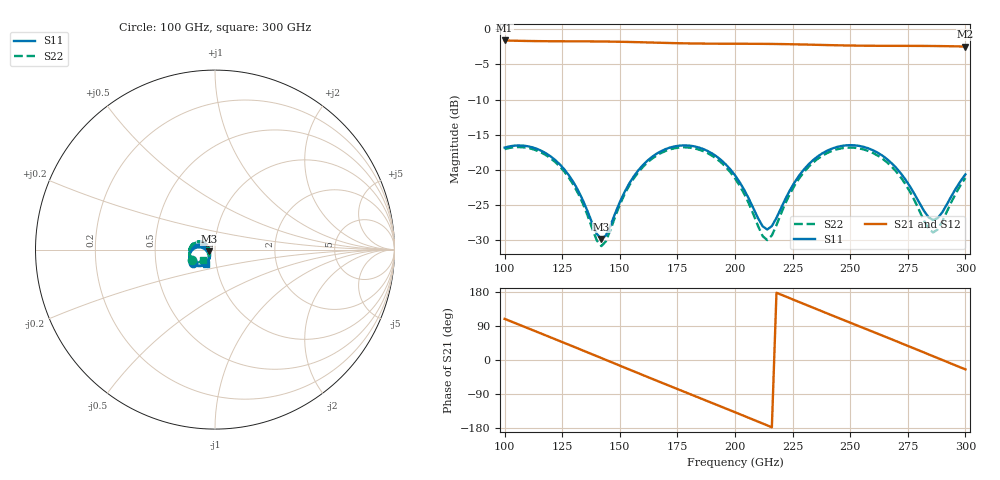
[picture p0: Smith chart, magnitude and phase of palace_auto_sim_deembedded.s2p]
! Created with skrf 1.11.0 (http://scikit-rf.org).
# GHz S DB R 50.0
!freq dBS11 angS11 dBS21 angS21 dBS12 angS12 dBS22 angS22
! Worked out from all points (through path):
!   101 points, 100 GHz to 300 GHz, reference 50 ohm
!   highest |S21| = -1.59 dB at 100 GHz (marker M1); lowest = -2.5 dB at 300 GHz (marker M2)
!   group delay of S21, straight-line fit = 6.85 ps
!   lowest |S11| = -29.8 dB at 142 GHz (marker M3), VSWR 1.07, Z = 47 - j0.904 ohm
!   |S11| at or under -10 dB: start of sweep to end of sweep
!   |S22| runs from -30.9 to -16.8 dB; largest |S21 - S12| = 9.4e-14
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100  -16.84 -147.9  -1.59 108.6  -1.59 108.6  -17.05 -155.3
108  -16.55 -164.1  -1.65 89.0  -1.65 89.0  -16.79 -172.3
116  -17.29 -179.7  -1.69 69.5  -1.69 69.5  -17.55 171.3
126  -19.97 163.7  -1.71 44.9  -1.71 44.9  -20.28 153.5
134  -24.34 159.3  -1.72 25.1  -1.72 25.1  -24.83 147.8
142  -29.85 -162.6  -1.74 5.2  -1.74 5.2  -30.86 -171.9
156  -20.96 -122.7  -1.82 -29.8  -1.82 -29.8  -21.24 -132.4
168  -17.33 -140.8  -1.92 -59.5  -1.92 -59.5  -17.59 -152.3
176  -16.55 -155.5  -1.98 -79.1  -1.98 -79.1  -16.82 -168.0
184  -16.79 -170.3  -2.03 -98.6  -2.03 -98.6  -17.08 176.1
192  -18.09 176.0  -2.05 -118.2  -2.05 -118.2  -18.42 161.3
200  -20.78 165.9  -2.06 -137.8  -2.06 -137.8  -21.21 149.7
214  -28.49 -158.2  -2.08 -172.6  -2.08 -172.6  -30.00 -172.3
224  -22.80 -121.2  -2.13 162.6  -2.13 162.6  -23.32 -133.3
234  -18.59 -129.4  -2.20 137.8  -2.20 137.8  -18.93 -144.0
244  -16.77 -145.5  -2.27 113.2  -2.27 113.2  -17.10 -161.8
252  -16.51 -159.5  -2.32 93.7  -2.32 93.7  -16.86 -177.0
260  -17.23 -172.9  -2.35 74.1  -2.35 74.1  -17.62 168.3
268  -19.06 175.9  -2.35 54.5  -2.35 54.5  -19.54 155.5
278  -23.49 173.2  -2.36 29.9  -2.36 29.9  -24.41 150.4
286  -27.14 -156.1  -2.38 10.0  -2.38 10.0  -28.91 -174.6
300  -20.64 -121.7  -2.45 -24.8  -2.45 -24.8  -21.17 -138.6
